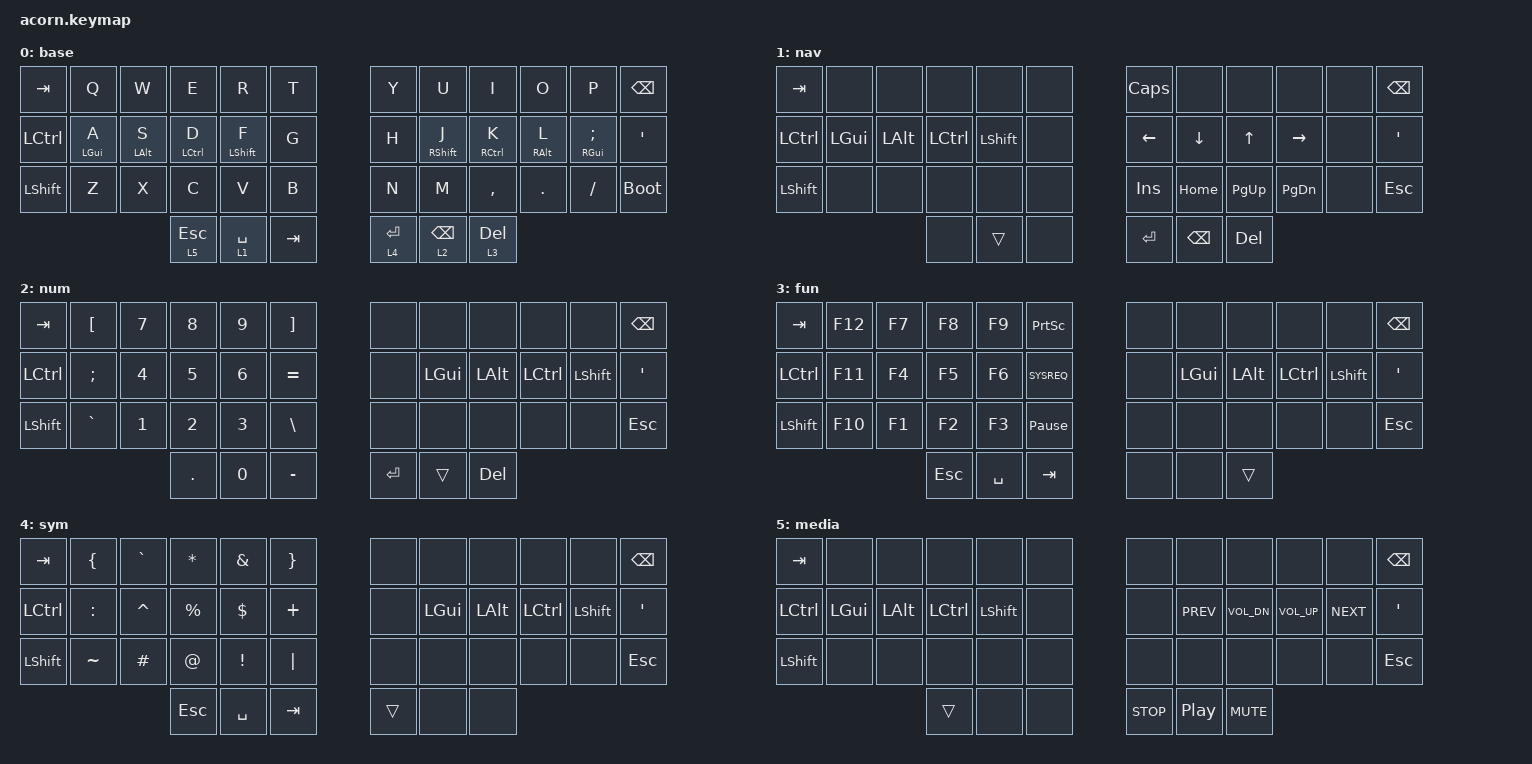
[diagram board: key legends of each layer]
/*
 * Klein Keyboard Layout adapted for 42-key ZMK board
 * Based on Klein QMK configuration
 */

#include <behaviors.dtsi>
#include <dt-bindings/zmk/keys.h>

/ {
    behaviors {
        hm: homerow_mods {
            compatible = "zmk,behavior-hold-tap";
            label = "HOMEROW_MODS";
            #binding-cells = <2>;
            tapping-term-ms = <200>;
            quick-tap-ms = <0>;
            flavor = "tap-preferred";
            bindings = <&kp>, <&kp>;
        };
    };

    combos {
        compatible = "zmk,combos";

        UnlockStudio {
            bindings = <&studio_unlock>;
            key-positions = <0 1>;
        };
    };

    keymap {
        compatible = "zmk,keymap";

        // Layer 0: Base Layer (Klein style)

        default_layer {
            display-name = "base";
            // -----------------------------------------------------------------------------------------
            // |  TAB |  Q  |  W  |  E  |  R  |  T  |   |  Y  |  U   |  I  |  O  |  P  | BSPC |
            // | CTRL |  A  |  S  |  D  |  F  |  G  |   |  H  |  J   |  K  |  L  |  ;  |  '   |
            // | SHFT |  Z  |  X  |  C  |  V  |  B  |   |  N  |  M   |  ,  |  .  |  /  | ESC  |
            //                    |MEDIA| NAV | NUM |   | SYM | NUM  | FUN |

            bindings = <
&kp TAB    &kp Q       &kp W       &kp E        &kp R        &kp T        &kp Y      &kp U        &kp I        &kp O       &kp P          &kp BSPC
&kp LCTRL  &hm LGUI A  &hm LALT S  &hm LCTRL D  &hm LSHFT F  &kp G        &kp H      &hm RSHFT J  &hm RCTRL K  &hm RALT L  &hm RGUI SEMI  &kp SQT
&kp LSHFT  &kp Z       &kp X       &kp C        &kp V        &kp B        &kp N      &kp M        &kp COMMA    &kp DOT     &kp FSLH       &bootloader
                                   &lt 5 ESC    &lt 1 SPACE  &kp TAB    &lt 4 RET  &lt 2 BSPC   &lt 3 DEL
            >;
        };

        // Layer 1: Navigation Layer

        nav_layer {
            display-name = "nav";
            bindings = <
&kp TAB    &none     &none     &none      &none      &none    &kp CAPS  &none     &none      &none      &none  &kp BSPC
&kp LCTRL  &kp LGUI  &kp LALT  &kp LCTRL  &kp LSHFT  &none    &kp LEFT  &kp DOWN  &kp UP     &kp RIGHT  &none  &kp SQT
&kp LSHFT  &none     &none     &none      &none      &none    &kp INS   &kp HOME  &kp PG_UP  &kp PG_DN  &none  &kp ESC
                               &none      &trans     &none    &kp RET   &kp BSPC  &kp DEL
            >;
        };

        // Layer 2: Numbers Layer

        num_layer {
            display-name = "num";
            bindings = <
&kp TAB    &kp LBKT   &kp N7  &kp N8   &kp N9  &kp RBKT     &none    &none     &none     &none      &none      &kp BSPC
&kp LCTRL  &kp SEMI   &kp N4  &kp N5   &kp N6  &kp EQUAL    &none    &kp LGUI  &kp LALT  &kp LCTRL  &kp LSHFT  &kp SQT
&kp LSHFT  &kp GRAVE  &kp N1  &kp N2   &kp N3  &kp BSLH     &none    &none     &none     &none      &none      &kp ESC
                              &kp DOT  &kp N0  &kp MINUS    &kp RET  &trans    &kp DEL
            >;
        };

        // Layer 3: Function Layer

        fun_layer {
            display-name = "fun";
            bindings = <
&kp TAB    &kp F12  &kp F7  &kp F8   &kp F9     &kp PSCRN          &none  &none     &none     &none      &none      &kp BSPC
&kp LCTRL  &kp F11  &kp F4  &kp F5   &kp F6     &kp SYSREQ         &none  &kp LGUI  &kp LALT  &kp LCTRL  &kp LSHFT  &kp SQT
&kp LSHFT  &kp F10  &kp F1  &kp F2   &kp F3     &kp PAUSE_BREAK    &none  &none     &none     &none      &none      &kp ESC
                            &kp ESC  &kp SPACE  &kp TAB            &none  &none     &trans
            >;
        };

        // Layer 4: Symbols Layer

        sym_layer {
            display-name = "sym";
            bindings = <
&kp TAB    &kp LBRC   &kp GRAVE  &kp ASTRK  &kp AMPS   &kp RBRC    &none   &none     &none     &none      &none      &kp BSPC
&kp LCTRL  &kp COLON  &kp CARET  &kp PRCNT  &kp DLLR   &kp PLUS    &none   &kp LGUI  &kp LALT  &kp LCTRL  &kp LSHFT  &kp SQT
&kp LSHFT  &kp TILDE  &kp HASH   &kp AT     &kp EXCL   &kp PIPE    &none   &none     &none     &none      &none      &kp ESC
                                 &kp ESC    &kp SPACE  &kp TAB     &trans  &none     &none
            >;
        };

        // Layer 5: Media Layer

        media_layer {
            display-name = "media";
            bindings = <
&kp TAB    &none     &none     &none      &none      &none    &none       &none             &none         &none         &none       &kp BSPC
&kp LCTRL  &kp LGUI  &kp LALT  &kp LCTRL  &kp LSHFT  &none    &none       &kp C_PREV        &kp C_VOL_DN  &kp C_VOL_UP  &kp C_NEXT  &kp SQT
&kp LSHFT  &none     &none     &none      &none      &none    &none       &none             &none         &none         &none       &kp ESC
                               &trans     &none      &none    &kp C_STOP  &kp C_PLAY_PAUSE  &kp C_MUTE
            >;
        };
    };
};
